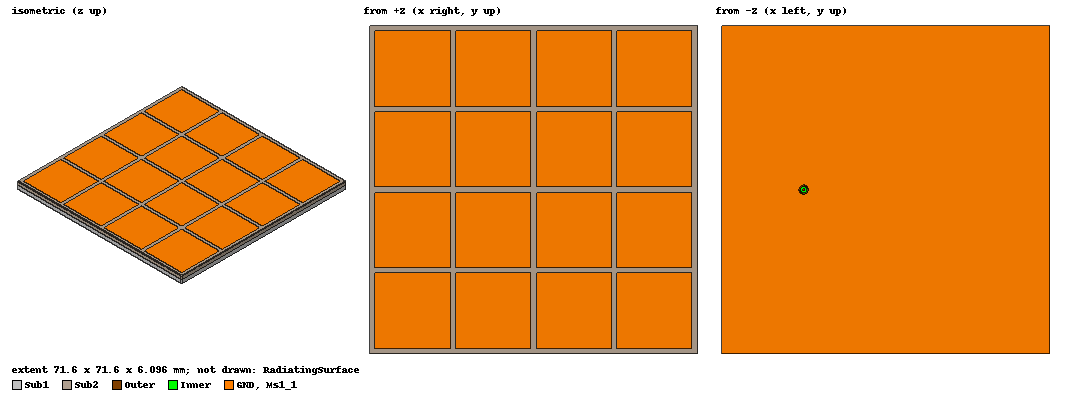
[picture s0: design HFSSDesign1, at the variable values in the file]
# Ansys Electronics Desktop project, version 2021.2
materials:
  vacuum: permittivity=1
  copper: permeability=0.999991 conductivity=58000000
  Rogers RO4003 (tm): permittivity=3.55 dielectric_loss_tangent=0.0027
  Teflon (tm): permittivity=2.1 dielectric_loss_tangent=0.001

design HFSSDesign1 (HFSS, DrivenModal, model units mm)
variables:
  a = 71.6mm
  b = 71.6mm
  h1 = 1.524mm
  h2 = h1
  g = 1.2mm
  m = 16.4mm
  s = 2mm
  Lf = 11.6mm
  wf = 3mm
  W = 14.5mm
  L = 19mm
  Rp = 5mm
  Rout = 1mm
  Rin = 0.7mm
  Rcore = 0.3mm
  gslot = g*2
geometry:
  Sub1 [Rogers RO4003 (tm)] = box(corner=(0mm, 0mm, -h1-h2), size=(a, b, h1))
  GND = rectangle(corner=(0mm, 0mm, -h1-h2), x_size=a, y_size=b)
  Sub2 [Rogers RO4003 (tm)] = box(corner=(0mm, 0mm, -h1), size=(a, b, h2))
  Ms1_1 = rectangle(corner=(g, g, 0mm), x_size=m, y_size=m)
  Ms1_2, Ms1_3, Ms1_4 = Ms1_1.duplicate_along_line(step=(g+m, 0, 0mm), total=4)
  Ms1_1_1, Ms1_1_2, Ms1_1_3 = Ms1_1.duplicate_along_line(step=(0mm, g+m, 0mm), total=4)
  Ms1_2_1, Ms1_2_2, Ms1_2_3 = Ms1_2.duplicate_along_line(step=(0mm, g+m, 0mm), total=4)
  Ms1_3_1, Ms1_3_2, Ms1_3_3 = Ms1_3.duplicate_along_line(step=(0mm, g+m, 0mm), total=4)
  Ms1_4_1, Ms1_4_2, Ms1_4_3 = Ms1_4.duplicate_along_line(step=(0mm, g+m, 0mm), total=4)
  Ms1_1.unite(Ms1_1_1, Ms1_1_2, Ms1_1_3, Ms1_2, Ms1_2_1, Ms1_2_2, Ms1_2_3, Ms1_3, Ms1_3_1, Ms1_3_2, Ms1_3_3, Ms1_4, Ms1_4_1, Ms1_4_2, Ms1_4_3)
  RadiatingSurface [vacuum] = region(absolute_offset=28.571429mm on all sides)
  Feedline = rectangle(corner=(a-g-m+s, b/2-wf/2, -h2), x_size=-Lf, y_size=wf)
  Patch = rectangle(corner=(a-g-m+s-Lf, b/2-W/2, -h2), x_size=-L, y_size=W)
  Circle1 = circle(normal=Z, centre=(a-g-m+s-Lf, b/2-W/2, -h2), radius=Rp)
  Circle1_1 = Circle1.duplicate_mirror(point=(a-g-m+s-Lf, b/2, -h2), normal=(0mm, 1mm, 0mm))
  Patch.subtract(Circle1, Circle1_1)
  Patch.unite(Feedline)
  Outer [copper] = cylinder(axis=Z, base_centre=(a-g-m-Rcore, b/2, -h2-h1), radius=Rout, height=-h1*2)
  Inner [Teflon (tm)] = cylinder(axis=Z, base_centre=(a-g-m-Rcore, b/2, -h2-h1), radius=Rin, height=-h1*2)
  Core [copper] = cylinder(axis=Z, base_centre=(a-g-m-Rcore, b/2, -h2), radius=Rcore, height=-h1*3)
  Core_1 = Core.copy()
  Inner_1 = Inner.copy()
  Outer.subtract(Core_1, Inner_1)
  Core_2 = Core.copy()
  Inner.subtract(Core_2)
  Circle2 = circle(normal=Z, centre=(a-g-m-Rcore, b/2, -h2), radius=Rcore)
  Circle3 = circle(normal=Z, centre=(a-g-m-Rcore, b/2, -h2-h1), radius=Rin)
  Core_3 = Core.copy()
  Sub1.subtract(Core_3)
  GND.subtract(Circle3)
  Patch.subtract(Circle2)
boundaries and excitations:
  FiniteCond1: Finite Conductivity Objects=Ms1_1 UseMaterial Material=copper IsInternal
  FiniteCond2: Finite Conductivity Objects=GND UseMaterial Material=copper IsInternal
  Open1: Radiation Objects=RadiatingSurface
  FiniteCond3: Finite Conductivity Objects=Patch UseMaterial Material=copper IsInternal
  1: Lumped Port Faces=Inner.face(2 of 3) Modes{Mode1{IntLine{middle of Inner.edge(1 of 2) -> middle of Inner.edge(at (53.4, 35.8, -6.096))} CharImp=Zpi RenormImp=50ohm}} Impedance=50ohm
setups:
  Setup1: HfssDriven Frequency=3.5GHz MaxDeltaS=0.02 MaximumPasses=6 MinimumPasses=1 MinimumConvergedPasses=1 PercentRefinement=30 BasisOrder=1 PortAccuracy=2
    sweep Sweep: 1GHz to 5GHz step 0.1GHz; Type=Discrete SaveFields SaveRadFields
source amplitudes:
  1:1: 1W 0deg
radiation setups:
  3D: Infinite Sphere Theta=0deg..180deg step 2deg Phi=-180deg..180deg step 2deg
  Elevation: Infinite Sphere Theta=-180deg..180deg step 1deg Phi=0deg..90deg step 90deg
  Azimuth: Infinite Sphere Theta=90deg..90deg step 0deg Phi=-180deg..180deg step 1deg
